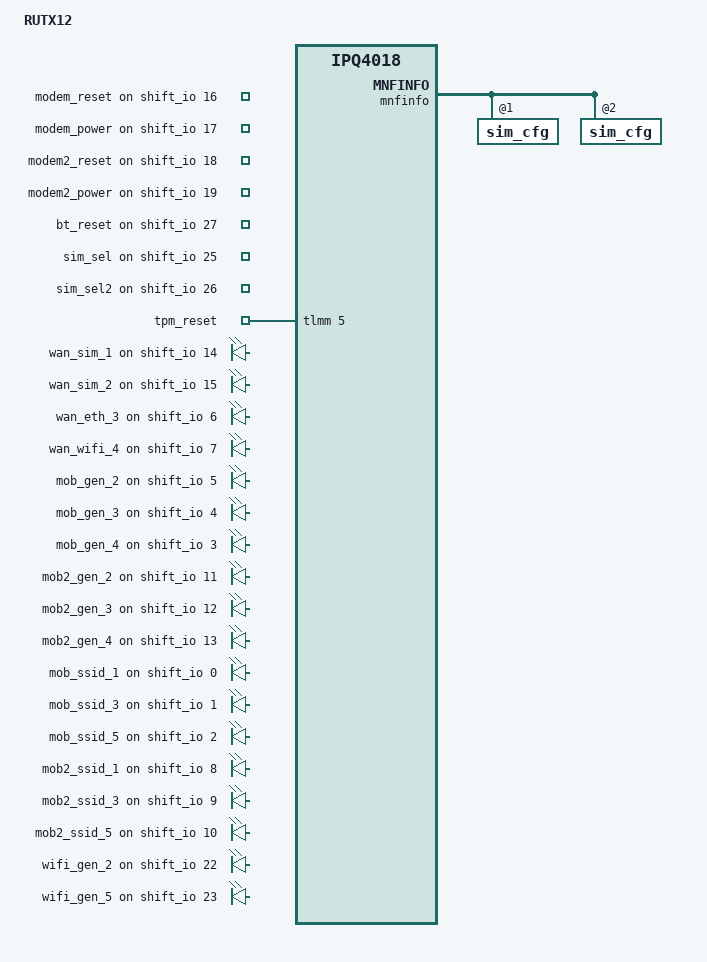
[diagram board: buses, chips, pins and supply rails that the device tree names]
#include "qcom-ipq4018-rutx-shiftreg.dtsi"

/ {
	model = "RUTX12";

	soc {
		gpio-export {
			compatible = "gpio-export";
			#size-cells = <0>;

			gpio_modem_reset {
				gpio-export,name = "modem_reset";
				gpio-export,output = <0>;
				gpios = <&shift_io 16 GPIO_ACTIVE_HIGH>;
			};

			gpio_modem_power {
				gpio-export,name = "modem_power";
				gpio-export,output = <0>;
				gpios = <&shift_io 17 GPIO_ACTIVE_HIGH>;
			};

			gpio_modem2_reset {
				gpio-export,name = "modem2_reset";
				gpio-export,output = <0>;
				gpios = <&shift_io 18 GPIO_ACTIVE_HIGH>;
			};

			gpio_modem2_power {
				gpio-export,name = "modem2_power";
				gpio-export,output = <0>;
				gpios = <&shift_io 19 GPIO_ACTIVE_HIGH>;
			};

			gpio_bt_reset {
				gpio-export,name = "bt_reset";
				line-name = "bt_reset";
				gpio-export,output = <0>;
				gpio-export,toggle = <100>; // ms
				gpios = <&shift_io 27 GPIO_ACTIVE_HIGH>;
			};

			gpio_sim_select {
				gpio-export,name = "sim_sel";
				gpio-export,output = <0>;
				gpios = <&shift_io 25 GPIO_ACTIVE_HIGH>;
			};

			gpio_sim_select2 {
				gpio-export,name = "sim_sel2";
				gpio-export,output = <0>;
				gpios = <&shift_io 26 GPIO_ACTIVE_HIGH>;
			};

			gpio_tpm_reset {
				gpio-export,name = "tpm_reset";
				gpio-export,output = <1>;
				gpios = <&tlmm 5 GPIO_ACTIVE_HIGH>;
			};
		};

		leds {
			compatible = "gpio-leds";

			led_wan_sim1 {
				label = "wan_sim_1";
				gpios = <&shift_io 14 GPIO_ACTIVE_HIGH>;
			};

			led_wan_sim2 {
				label = "wan_sim_2";
				gpios = <&shift_io 15 GPIO_ACTIVE_HIGH>;
			};

			led_wan_eth {
				label = "wan_eth_3";
				gpios = <&shift_io 6 GPIO_ACTIVE_HIGH>;
			};

			led_wan_wifi {
				label = "wan_wifi_4";
				gpios = <&shift_io 7 GPIO_ACTIVE_HIGH>;
			};

			led_gen_2 {
				label = "mob_gen_2";
				gpios = <&shift_io 5 GPIO_ACTIVE_HIGH>;
			};

			led_gen_3 {
				label = "mob_gen_3";
				gpios = <&shift_io 4 GPIO_ACTIVE_HIGH>;
			};

			led_gen_4 {
				label = "mob_gen_4";
				gpios = <&shift_io 3 GPIO_ACTIVE_HIGH>;
			};

			led2_gen_2 {
				label = "mob2_gen_2";
				gpios = <&shift_io 11 GPIO_ACTIVE_HIGH>;
			};

			led2_gen_3 {
				label = "mob2_gen_3";
				gpios = <&shift_io 12 GPIO_ACTIVE_HIGH>;
			};

			led2_gen_4 {
				label = "mob2_gen_4";
				gpios = <&shift_io 13 GPIO_ACTIVE_HIGH>;
			};

			led_ssid_1 {
				label = "mob_ssid_1";
				gpios = <&shift_io 0 GPIO_ACTIVE_HIGH>;
				linux,default-trigger = "timer";
			};

			led_ssid_3 {
				label = "mob_ssid_3";
				gpios = <&shift_io 1 GPIO_ACTIVE_HIGH>;
				linux,default-trigger = "timer";
			};

			led_ssid_5 {
				label = "mob_ssid_5";
				gpios = <&shift_io 2 GPIO_ACTIVE_HIGH>;
				linux,default-trigger = "timer";
			};

			led2_ssid_1 {
				label = "mob2_ssid_1";
				gpios = <&shift_io 8 GPIO_ACTIVE_HIGH>;
				linux,default-trigger = "timer";
			};

			led2_ssid_3 {
				label = "mob2_ssid_3";
				gpios = <&shift_io 9 GPIO_ACTIVE_HIGH>;
				linux,default-trigger = "timer";
			};

			led2_ssid_5 {
				label = "mob2_ssid_5";
				gpios = <&shift_io 10 GPIO_ACTIVE_HIGH>;
				linux,default-trigger = "timer";
			};

			led_wifi_24 {
				label = "wifi_gen_2";
				gpios = <&shift_io 22 GPIO_ACTIVE_HIGH>;
			};

			led_wifi_50 {
				label = "wifi_gen_5";
				gpios = <&shift_io 23 GPIO_ACTIVE_HIGH>;
			};
		};
	};

	tlt_gpios { // Modify according to wiki page "DTS syntax with Libgpiod changes"
		gpiochip_info {
			hw_4 {
				hwver = <4>;
				gpiochip_count = <2>;

				gpiochip_0 = <100>; // Built-in
				gpiochip_1 = <24>;  // Shift Register
			};
			hw_7 {
				hwver = <7>;
				gpiochip_count = <2>;

				gpiochip_0 = <100>; // Built-in
				gpiochip_1 = <32>;  // Shift Register
			};
		};

		ioman {
			GPIO_0 {
				compatible_versions = <4 99>;
				line_name = "GPIO_IN_1";
				active_low;
			};
			GPIO_120 {
				compatible_versions = <4 99>;
				line_name = "GPIO_OUT_1";
			};
		};

		misc {
			GPIO_116 {
				compatible_versions = <4 99>;
				line_name = "GPIO_MODEM_RESET_1";
			};
			GPIO_118 {
				compatible_versions = <4 99>;
				line_name = "GPIO_MODEM_RESET_2";
			};
			GPIO_117 {
				compatible_versions = <4 99>;
				line_name = "GPIO_MODEM_POWER_1";
			};
			GPIO_119 {
				compatible_versions = <4 99>;
				line_name = "GPIO_MODEM_POWER_2";
			};
			GPIO_127 {
				compatible_versions = <7 99>;
				line_name = "BT_RESET";
			};
		};
	};
};

&mnfinfo {
	simpin3 {
		reg = <&config_rw 0x20 0x8>;
		type = "digit";
		default = "";
		sec;
	};

	simpin4 {
		reg = <&config_rw 0x30 0x8>;
		type = "digit";
		default = "";
		sec;
	};

	sim_cfg@1 {
		tlt-mnf,hwver = <000 699>;
		reg = <&config 0x120 0x20>;
		type = "simcfg";
		default = "0210000_0000000_0110000_0000000";
	};

	sim_cfg@2 {
		tlt-mnf,hwver = <700 9999>;
		reg = <&config 0x120 0x20>;
		type = "simcfg";
		default = "2111020_2122020_2210120_2220220";
	};
};

&shift_io {
	registers-number = <4>;
};
